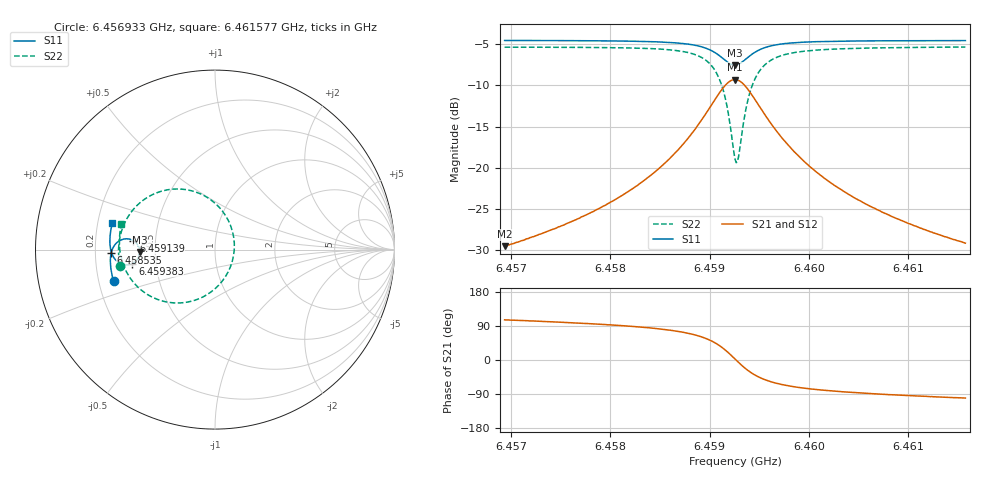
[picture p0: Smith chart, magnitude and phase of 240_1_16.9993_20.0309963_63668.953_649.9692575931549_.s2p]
#  HZ  S  RI  R  50.00
! Rohde & Schwarz Vector Network Analyzer
! Rohde-Schwarz,ZNB20-2Port,1311601062101988,3.16
! Created: UTC 3/20/2024, 11:02:50 PM
! freq[Hz]  re:S11  im:S11  re:S21  im:S21  re:S12  im:S12  re:S22  im:S22
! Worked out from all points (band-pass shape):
!   401 points, 6.456933 GHz to 6.461577 GHz, reference 50 ohm
!   highest |S21| = -9.29 dB at 6.459255 GHz (marker M1); lowest = -29.5 dB at 6.456933 GHz (marker M2)
!   |S21| within 3 dB of the highest: 6.459023 GHz to 6.459487 GHz (464 kHz wide, 0.00718 % of centre)
!   lowest |S11| = -7.5 dB at 6.459255 GHz (marker M3), VSWR 2.44, Z = 20.5 - j0.618 ohm
!   |S11| at or under -10 dB: nowhere
!   |S22| runs from -19.4 to -5.3 dB; largest |S21 - S12| = 0.013
!   S11 on the Smith chart (normalised r, x): 6.456933 GHz: 0.26, -0.14; 6.458535 GHz: 0.27, -0.01; 6.459139 GHz: 0.37, +0.05; 6.459383 GHz: 0.37, -0.07; 6.461577 GHz: 0.26, +0.12
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6.4569327e9  -0.5652 -0.1765  -0.00918 0.0322  -0.00737 0.0322  -0.5309 -0.0927
6.4577106e9  -0.5799 -0.1089  -0.00614 0.0501  -0.00344 0.0494  -0.5375 -0.0022
6.4581403e9  -0.5831 -0.066  -0.000284 0.0695  0.00296 0.068  -0.5301 0.0654
6.4584886e9  -0.5797 -0.0247  0.0133 0.0982  0.0173 0.0954  -0.5056 0.1435
6.458535e9  -0.5783 -0.0182  0.0166 0.1035  0.0207 0.1006  -0.4994 0.1566
6.4587557e9  -0.5651 0.0156  0.0447 0.1374  0.0488 0.1325  -0.447 0.233
6.4589066e9  -0.5427 0.0421  0.0896 0.1681  0.0928 0.1614  -0.3647 0.298
6.4590459e9  -0.4994 0.0599  0.1762 0.1851  0.1771 0.1777  -0.2064 0.3379
6.4591388e9  -0.455 0.0499  0.2657 0.1545  0.266 0.1485  -0.0406 0.289
6.4591853e9  -0.4339 0.0313  0.3094 0.112  0.3106 0.1067  0.0423 0.2133
6.4592549e9  -0.4191 -0.0124  0.3427 0.0159  0.3463 0.0089  0.1076 0.0351
6.4592666e9  -0.4195 -0.0204  0.3426 -0.00177  0.3463 -0.0094  0.1074 0.00167
6.4592898e9  -0.4229 -0.036  0.3373 -0.0361  0.341 -0.0452  0.0966 -0.0637
6.4593362e9  -0.4384 -0.0618  0.309 -0.0959  0.3112 -0.1076  0.04 -0.1761
6.4593827e9  -0.4603 -0.078  0.2675 -0.1367  0.2667 -0.1498  -0.044 -0.2507
6.4594756e9  -0.5034 -0.0848  0.1834 -0.168  0.1775 -0.1795  -0.2111 -0.2974
6.4596265e9  -0.5468 -0.0644  0.0963 -0.1548  0.088 -0.161  -0.3777 -0.2494
6.4597891e9  -0.5683 -0.0368  0.0517 -0.1275  0.0442 -0.1301  -0.4579 -0.1781
6.4600329e9  -0.581 -0.00122  0.0226 -0.0964  0.0169 -0.0968  -0.5061 -0.0964
6.4603696e9  -0.5856 0.0385  0.00681 -0.0704  0.00286 -0.0702  -0.5276 -0.0198
6.4608109e9  -0.5837 0.0828  -0.00121 -0.0515  -0.00404 -0.0506  -0.5325 0.0506
6.4615772e9  -0.5716 0.1506  -0.0063 -0.0343  -0.00809 -0.0335  -0.5216 0.1408
